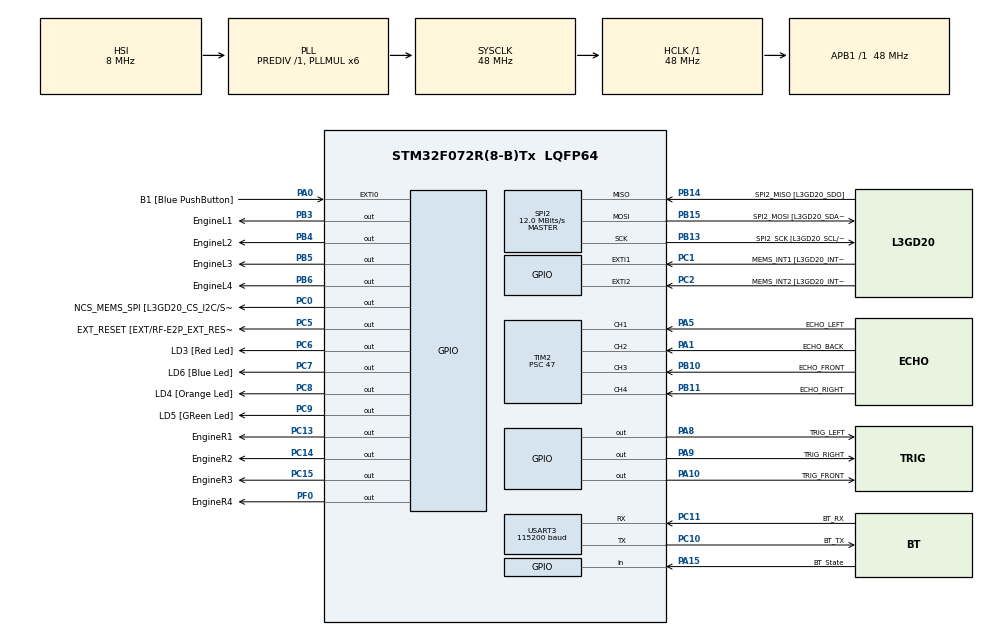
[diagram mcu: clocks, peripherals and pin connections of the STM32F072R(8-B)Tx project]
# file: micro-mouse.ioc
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Dma.Request0=USART3_TX
Dma.USART3_TX.0.Direction=DMA_MEMORY_TO_PERIPH
Dma.USART3_TX.0.Instance=DMA1_Channel2
Dma.USART3_TX.0.MemDataAlignment=DMA_MDATAALIGN_BYTE
Dma.USART3_TX.0.MemInc=DMA_MINC_ENABLE
Dma.USART3_TX.0.Mode=DMA_NORMAL
Dma.USART3_TX.0.PeriphDataAlignment=DMA_PDATAALIGN_BYTE
Dma.USART3_TX.0.PeriphInc=DMA_PINC_DISABLE
Dma.USART3_TX.0.Priority=DMA_PRIORITY_LOW
Mcu.Family=STM32F0
Mcu.Name=STM32F072R(8-B)Tx
Mcu.Package=LQFP64
NVIC.DMA1_Channel2_3_IRQn=true\:0\:0\:false\:false\:true\:false\:true
NVIC.TIM1_BRK_UP_TRG_COM_IRQn=true\:3\:0\:true\:false\:true\:true\:true
NVIC.TIM2_IRQn=true\:0\:0\:false\:false\:true\:true\:true
NVIC.TIM3_IRQn=true\:0\:0\:false\:false\:true\:true\:true
NVIC.USART3_4_IRQn=true\:0\:0\:false\:false\:true\:true\:true
PA0.GPIO_Label=B1 [Blue PushButton]
PA0.GPIO_ModeDefaultEXTI=GPIO_MODE_EVT_RISING
PA0.Signal=GPXTI0
PA1.GPIO_Label=ECHO_BACK
PA1.Signal=S_TIM2_CH2
PA10.GPIO_Label=TRIG_FRONT
PA10.Signal=GPIO_Output
PA11.GPIO_Label=USBF4_DM
PA11.Signal=USB_DM
PA12.GPIO_Label=USBF4_DP
PA12.Signal=USB_DP
PA13.GPIO_Label=SWDIO
PA13.Signal=SYS_SWDIO
PA14.GPIO_Label=SWCLK
PA14.Signal=SYS_SWCLK
PA15.GPIO_Label=BT_State
PA15.Signal=GPIO_Input
PA2.Signal=TSC_G1_IO3
PA3.Signal=TSC_G1_IO4
PA5.GPIO_Label=ECHO_LEFT
PA5.Signal=S_TIM2_CH1_ETR
PA6.Signal=TSC_G2_IO3
PA7.Signal=TSC_G2_IO4
PA8.GPIO_Label=TRIG_LEFT
PA8.Signal=GPIO_Output
PA9.GPIO_Label=TRIG_RIGHT
PA9.Signal=GPIO_Output
PB0.Signal=TSC_G3_IO2
PB1.Signal=TSC_G3_IO3
PB10.GPIO_Label=ECHO_FRONT
PB10.Signal=S_TIM2_CH3
PB11.GPIO_Label=ECHO_RIGHT
PB11.Signal=S_TIM2_CH4
PB13.GPIO_Label=SPI2_SCK [L3GD20_SCL/SPC]
PB13.Mode=Full_Duplex_Master
PB13.Signal=SPI2_SCK
PB14.GPIO_Label=SPI2_MISO [L3GD20_SDO]
PB14.Mode=Full_Duplex_Master
PB14.Signal=SPI2_MISO
PB15.GPIO_Label=SPI2_MOSI [L3GD20_SDA/SDI]
PB15.Mode=Full_Duplex_Master
PB15.Signal=SPI2_MOSI
PB3.GPIO_Label=EngineL1
PB3.Signal=GPIO_Output
PB4.GPIO_Label=EngineL2
PB4.Signal=GPIO_Output
PB5.GPIO_Label=EngineL3
PB5.Signal=GPIO_Output
PB6.GPIO_Label=EngineL4
PB6.Signal=GPIO_Output
PC0.GPIO_Label=NCS_MEMS_SPI [L3GD20_CS_I2C/SPI]
PC0.Signal=GPIO_Output
PC1.GPIO_Label=MEMS_INT1 [L3GD20_INT1]
PC1.GPIO_ModeDefaultEXTI=GPIO_MODE_EVT_RISING
PC1.Signal=GPXTI1
PC10.GPIO_Label=BT_TX
PC10.Mode=Asynchronous
PC10.Signal=USART3_TX
PC11.GPIO_Label=BT_RX
PC11.Mode=Asynchronous
PC11.Signal=USART3_RX
PC13.GPIO_Label=EngineR1
PC13.Signal=GPIO_Output
PC14-OSC32_IN.GPIO_Label=EngineR2
PC14-OSC32_IN.Signal=GPIO_Output
PC15-OSC32_OUT.GPIO_Label=EngineR3
PC15-OSC32_OUT.Signal=GPIO_Output
PC2.GPIO_Label=MEMS_INT2 [L3GD20_INT2]
PC2.GPIO_ModeDefaultEXTI=GPIO_MODE_EVT_RISING
PC2.Signal=GPXTI2
PC5.GPIO_Label=EXT_RESET [EXT/RF-E2P_EXT_RESET]
PC5.Signal=GPIO_Output
PC6.GPIO_Label=LD3 [Red Led]
PC6.Signal=GPIO_Output
PC7.GPIO_Label=LD6 [Blue Led]
PC7.Signal=GPIO_Output
PC8.GPIO_Label=LD4 [Orange Led]
PC8.Signal=GPIO_Output
PC9.GPIO_Label=LD5 [GReen Led]
PC9.Signal=GPIO_Output
PF0-OSC_IN.GPIO_Label=EngineR4
PF0-OSC_IN.Signal=GPIO_Output
ProjectManager.HeapSize=0x200
ProjectManager.StackSize=0x800
ProjectManager.TargetToolchain=Other Toolchains (GPDSC)
RCC.AHBFreq_Value=48000000
RCC.APB1Freq_Value=48000000
RCC.APB1TimFreq_Value=48000000
RCC.HCLKFreq_Value=48000000
RCC.PLLMUL=RCC_PLL_MUL6
RCC.SYSCLKFreq_VALUE=48000000
RCC.SYSCLKSource=RCC_SYSCLKSOURCE_PLLCLK
SH.S_TIM2_CH1_ETR.0=TIM2_CH1,Input_Capture1_from_TI1
SH.S_TIM2_CH2.0=TIM2_CH2,Input_Capture2_from_TI2
SH.S_TIM2_CH3.0=TIM2_CH3,Input_Capture3_from_TI3
SH.S_TIM2_CH4.0=TIM2_CH4,Input_Capture4_from_TI4
SPI2.BaudRatePrescaler=SPI_BAUDRATEPRESCALER_4
SPI2.CLKPhase=SPI_PHASE_2EDGE
SPI2.CLKPolarity=SPI_POLARITY_HIGH
SPI2.CalculateBaudRate=12.0 MBits/s
SPI2.DataSize=SPI_DATASIZE_16BIT
SPI2.Direction=SPI_DIRECTION_2LINES
SPI2.Mode=SPI_MODE_MASTER
SPI2.VirtualType=VM_MASTER
TIM1.Period=999
TIM1.Prescaler=47
TIM2.AutoReloadPreload=TIM_AUTORELOAD_PRELOAD_DISABLE
TIM2.Channel-Input_Capture1_from_TI1=TIM_CHANNEL_1
TIM2.Channel-Input_Capture2_from_TI2=TIM_CHANNEL_2
TIM2.Channel-Input_Capture3_from_TI3=TIM_CHANNEL_3
TIM2.Channel-Input_Capture4_from_TI4=TIM_CHANNEL_4
TIM2.Prescaler=47
TIM3.AutoReloadPreload=TIM_AUTORELOAD_PRELOAD_ENABLE
TIM3.Period=999
TIM3.Prescaler=47
USART3.BaudRate=115200
USART3.VirtualMode-Asynchronous=VM_ASYNC
VP_TIM1_VS_ClockSourceINT.Mode=Internal
VP_TIM2_VS_ClockSourceINT.Mode=Internal
VP_TIM3_VS_ClockSourceINT.Mode=Internal
board=STM32F072B-DISCO

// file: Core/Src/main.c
/* USER CODE BEGIN Header */
/**
  ******************************************************************************
  * @file           : main.c
  * @brief          : Main program body
  ******************************************************************************
  * @attention
  *
  * <h2><center>&copy; Copyright (c) 2022 STMicroelectronics.
  * All rights reserved.</center></h2>
  *
  * This software component is licensed by ST under BSD 3-Clause license,
  * the "License"; You may not use this file except in compliance with the
  * License. You may obtain a copy of the License at:
  *                        opensource.org/licenses/BSD-3-Clause
  *
  ******************************************************************************
  */
/* USER CODE END Header */
#include "main.h"

/* USER CODE BEGIN Includes */
#include <commander.h>
#include <ctrl_stack.h>
#include <Drivers/HCSR04.h>
#include <Drivers/I3G4250D_gyro.h>
#include <Drivers/ZS040.h>
#include <Ecl/state_estimator.h>
/* USER CODE END Includes */

SPI_HandleTypeDef hspi2;

TIM_HandleTypeDef htim1;
TIM_HandleTypeDef htim2;
TIM_HandleTypeDef htim3;

UART_HandleTypeDef huart3;
DMA_HandleTypeDef hdma_usart3_tx;

void SystemClock_Config(void);
static void MX_GPIO_Init(void);
static void MX_DMA_Init(void);
static void MX_USART3_UART_Init(void);
static void MX_TIM2_Init(void);
static void MX_TIM3_Init(void);
static void MX_SPI2_Init(void);
static void MX_TIM1_Init(void);

int main(void)
{

  /* MCU Configuration--------------------------------------------------------*/

  /* Reset of all peripherals, Initializes the Flash interface and the Systick. */
  HAL_Init();

  /* Configure the system clock */
  SystemClock_Config();

  /* Initialize all configured peripherals */
  MX_GPIO_Init();
  MX_DMA_Init();
  MX_USART3_UART_Init();
  MX_TIM2_Init();
  MX_TIM3_Init();
  MX_SPI2_Init();
  MX_TIM1_Init();
  /* USER CODE BEGIN 2 */

  HAL_GPIO_WritePin(NCS_MEMS_SPI_GPIO_Port, NCS_MEMS_SPI_Pin, GPIO_PIN_SET); // Slave select for gyro
  //HAL_Delay(100); // wait for external peripherals to start up

  // setup uart
  ZS040_init(&huart3, bt_callback);

  // setup distance sensors
  HAL_TIM_Base_Start(&htim2);
  HCSR04_Init(&htim2);

  // setup gyro
  I3G4250D_gyro_Init(&hspi2);
  HAL_Delay(1000); // wait until fingers are removed from Wall-E and he stopped vibrating
  I3G4250D_gyro_Calibrate(); // this takes another second

  // setup slam
  init_maze();

  // setup controller stack
  HAL_TIM_Base_Start_IT(&htim3);
  htim3.Instance->ARR = (SYS_FREQ / MAIN_CTRL_FREQ) - 1;
  HAL_TIM_Base_Start_IT(&htim1);
  htim1.Instance->ARR = (SYS_FREQ / MAIN_CTRL_FREQ) - 1;

  /* USER CODE END 2 */

  /* Infinite loop */
  /* USER CODE BEGIN WHILE */
  commander();
  while (1)
  {

    /* USER CODE END WHILE */

  }
}

void SystemClock_Config(void)
{
  RCC_OscInitTypeDef RCC_OscInitStruct = {0};
  RCC_ClkInitTypeDef RCC_ClkInitStruct = {0};

  /** Initializes the RCC Oscillators according to the specified parameters
  * in the RCC_OscInitTypeDef structure.
  */
  RCC_OscInitStruct.OscillatorType = RCC_OSCILLATORTYPE_HSI;
  RCC_OscInitStruct.HSIState = RCC_HSI_ON;
  RCC_OscInitStruct.HSICalibrationValue = RCC_HSICALIBRATION_DEFAULT;
  RCC_OscInitStruct.PLL.PLLState = RCC_PLL_ON;
  RCC_OscInitStruct.PLL.PLLSource = RCC_PLLSOURCE_HSI;
  RCC_OscInitStruct.PLL.PLLMUL = RCC_PLL_MUL6;
  RCC_OscInitStruct.PLL.PREDIV = RCC_PREDIV_DIV1;
  if (HAL_RCC_OscConfig(&RCC_OscInitStruct) != HAL_OK)
  {
    Error_Handler();
  }
  /** Initializes the CPU, AHB and APB buses clocks
  */
  RCC_ClkInitStruct.ClockType = RCC_CLOCKTYPE_HCLK|RCC_CLOCKTYPE_SYSCLK
                              |RCC_CLOCKTYPE_PCLK1;
  RCC_ClkInitStruct.SYSCLKSource = RCC_SYSCLKSOURCE_PLLCLK;
  RCC_ClkInitStruct.AHBCLKDivider = RCC_SYSCLK_DIV1;
  RCC_ClkInitStruct.APB1CLKDivider = RCC_HCLK_DIV1;

  if (HAL_RCC_ClockConfig(&RCC_ClkInitStruct, FLASH_LATENCY_1) != HAL_OK)
  {
    Error_Handler();
  }
}

static void MX_SPI2_Init(void)
{

  /* SPI2 parameter configuration*/
  hspi2.Instance = SPI2;
  hspi2.Init.Mode = SPI_MODE_MASTER;
  hspi2.Init.Direction = SPI_DIRECTION_2LINES;
  hspi2.Init.DataSize = SPI_DATASIZE_16BIT;
  hspi2.Init.CLKPolarity = SPI_POLARITY_HIGH;
  hspi2.Init.CLKPhase = SPI_PHASE_2EDGE;
  hspi2.Init.NSS = SPI_NSS_SOFT;
  hspi2.Init.BaudRatePrescaler = SPI_BAUDRATEPRESCALER_4;
  hspi2.Init.FirstBit = SPI_FIRSTBIT_MSB;
  hspi2.Init.TIMode = SPI_TIMODE_DISABLE;
  hspi2.Init.CRCCalculation = SPI_CRCCALCULATION_DISABLE;
  hspi2.Init.CRCPolynomial = 7;
  hspi2.Init.CRCLength = SPI_CRC_LENGTH_DATASIZE;
  hspi2.Init.NSSPMode = SPI_NSS_PULSE_DISABLE;
  if (HAL_SPI_Init(&hspi2) != HAL_OK)
  {
    Error_Handler();
  }

}

static void MX_TIM1_Init(void)
{

  TIM_ClockConfigTypeDef sClockSourceConfig = {0};
  TIM_MasterConfigTypeDef sMasterConfig = {0};

  htim1.Instance = TIM1;
  htim1.Init.Prescaler = 47;
  htim1.Init.CounterMode = TIM_COUNTERMODE_UP;
  htim1.Init.Period = 999;
  htim1.Init.ClockDivision = TIM_CLOCKDIVISION_DIV1;
  htim1.Init.RepetitionCounter = 0;
  htim1.Init.AutoReloadPreload = TIM_AUTORELOAD_PRELOAD_DISABLE;
  if (HAL_TIM_Base_Init(&htim1) != HAL_OK)
  {
    Error_Handler();
  }
  sClockSourceConfig.ClockSource = TIM_CLOCKSOURCE_INTERNAL;
  if (HAL_TIM_ConfigClockSource(&htim1, &sClockSourceConfig) != HAL_OK)
  {
    Error_Handler();
  }
  sMasterConfig.MasterOutputTrigger = TIM_TRGO_RESET;
  sMasterConfig.MasterSlaveMode = TIM_MASTERSLAVEMODE_DISABLE;
  if (HAL_TIMEx_MasterConfigSynchronization(&htim1, &sMasterConfig) != HAL_OK)
  {
    Error_Handler();
  }

}

static void MX_TIM2_Init(void)
{

  TIM_ClockConfigTypeDef sClockSourceConfig = {0};
  TIM_MasterConfigTypeDef sMasterConfig = {0};
  TIM_IC_InitTypeDef sConfigIC = {0};

  htim2.Instance = TIM2;
  htim2.Init.Prescaler = 47;
  htim2.Init.CounterMode = TIM_COUNTERMODE_UP;
  htim2.Init.Period = 4294967295;
  htim2.Init.ClockDivision = TIM_CLOCKDIVISION_DIV1;
  htim2.Init.AutoReloadPreload = TIM_AUTORELOAD_PRELOAD_DISABLE;
  if (HAL_TIM_Base_Init(&htim2) != HAL_OK)
  {
    Error_Handler();
  }
  sClockSourceConfig.ClockSource = TIM_CLOCKSOURCE_INTERNAL;
  if (HAL_TIM_ConfigClockSource(&htim2, &sClockSourceConfig) != HAL_OK)
  {
    Error_Handler();
  }
  if (HAL_TIM_IC_Init(&htim2) != HAL_OK)
  {
    Error_Handler();
  }
  sMasterConfig.MasterOutputTrigger = TIM_TRGO_RESET;
  sMasterConfig.MasterSlaveMode = TIM_MASTERSLAVEMODE_DISABLE;
  if (HAL_TIMEx_MasterConfigSynchronization(&htim2, &sMasterConfig) != HAL_OK)
  {
    Error_Handler();
  }
  sConfigIC.ICPolarity = TIM_INPUTCHANNELPOLARITY_RISING;
  sConfigIC.ICSelection = TIM_ICSELECTION_DIRECTTI;
  sConfigIC.ICPrescaler = TIM_ICPSC_DIV1;
  sConfigIC.ICFilter = 0;
  if (HAL_TIM_IC_ConfigChannel(&htim2, &sConfigIC, TIM_CHANNEL_1) != HAL_OK)
  {
    Error_Handler();
  }
  if (HAL_TIM_IC_ConfigChannel(&htim2, &sConfigIC, TIM_CHANNEL_2) != HAL_OK)
  {
    Error_Handler();
  }
  if (HAL_TIM_IC_ConfigChannel(&htim2, &sConfigIC, TIM_CHANNEL_3) != HAL_OK)
  {
    Error_Handler();
  }
  if (HAL_TIM_IC_ConfigChannel(&htim2, &sConfigIC, TIM_CHANNEL_4) != HAL_OK)
  {
    Error_Handler();
  }
  /* USER CODE BEGIN TIM2_Init 2 */
  htim2.Instance->CCER |= (TIM_CCER_CC1E | TIM_CCER_CC2E | TIM_CCER_CC3E | TIM_CCER_CC4E); // enable capture compare
  /* USER CODE END TIM2_Init 2 */

}

static void MX_TIM3_Init(void)
{

  TIM_ClockConfigTypeDef sClockSourceConfig = {0};
  TIM_MasterConfigTypeDef sMasterConfig = {0};

  htim3.Instance = TIM3;
  htim3.Init.Prescaler = 47;
  htim3.Init.CounterMode = TIM_COUNTERMODE_UP;
  htim3.Init.Period = 999;
  htim3.Init.ClockDivision = TIM_CLOCKDIVISION_DIV1;
  htim3.Init.AutoReloadPreload = TIM_AUTORELOAD_PRELOAD_ENABLE;
  if (HAL_TIM_Base_Init(&htim3) != HAL_OK)
  {
    Error_Handler();
  }
  sClockSourceConfig.ClockSource = TIM_CLOCKSOURCE_INTERNAL;
  if (HAL_TIM_ConfigClockSource(&htim3, &sClockSourceConfig) != HAL_OK)
  {
    Error_Handler();
  }
  sMasterConfig.MasterOutputTrigger = TIM_TRGO_RESET;
  sMasterConfig.MasterSlaveMode = TIM_MASTERSLAVEMODE_DISABLE;
  if (HAL_TIMEx_MasterConfigSynchronization(&htim3, &sMasterConfig) != HAL_OK)
  {
    Error_Handler();
  }

}

static void MX_USART3_UART_Init(void)
{

  huart3.Instance = USART3;
  huart3.Init.BaudRate = 115200;
  huart3.Init.WordLength = UART_WORDLENGTH_8B;
  huart3.Init.StopBits = UART_STOPBITS_1;
  huart3.Init.Parity = UART_PARITY_NONE;
  huart3.Init.Mode = UART_MODE_TX_RX;
  huart3.Init.HwFlowCtl = UART_HWCONTROL_NONE;
  huart3.Init.OverSampling = UART_OVERSAMPLING_16;
  huart3.Init.OneBitSampling = UART_ONE_BIT_SAMPLE_DISABLE;
  huart3.AdvancedInit.AdvFeatureInit = UART_ADVFEATURE_NO_INIT;
  if (HAL_UART_Init(&huart3) != HAL_OK)
  {
    Error_Handler();
  }
  /* USER CODE BEGIN USART3_Init 2 */
  SET_BIT(huart3.Instance->CR1, USART_CR1_RXNEIE); // Interrupt on Reception
  /* USER CODE END USART3_Init 2 */

}

static void MX_DMA_Init(void)
{

  /* DMA controller clock enable */
  __HAL_RCC_DMA1_CLK_ENABLE();

  /* DMA interrupt init */
  /* DMA1_Channel2_3_IRQn interrupt configuration */
  HAL_NVIC_SetPriority(DMA1_Channel2_3_IRQn, 0, 0);
  HAL_NVIC_EnableIRQ(DMA1_Channel2_3_IRQn);

}

static void MX_GPIO_Init(void)
{
  GPIO_InitTypeDef GPIO_InitStruct = {0};

  /* GPIO Ports Clock Enable */
  __HAL_RCC_GPIOC_CLK_ENABLE();
  __HAL_RCC_GPIOF_CLK_ENABLE();
  __HAL_RCC_GPIOA_CLK_ENABLE();
  __HAL_RCC_GPIOB_CLK_ENABLE();

  /*Configure GPIO pin Output Level */
  HAL_GPIO_WritePin(GPIOC, EngineR1_Pin|EngineR2_Pin|EngineR3_Pin|NCS_MEMS_SPI_Pin
                          |EXT_RESET_Pin|LD3_Pin|LD6_Pin|LD4_Pin
                          |LD5_Pin, GPIO_PIN_RESET);

  /*Configure GPIO pin Output Level */
  HAL_GPIO_WritePin(EngineR4_GPIO_Port, EngineR4_Pin, GPIO_PIN_RESET);

  /*Configure GPIO pin Output Level */
  HAL_GPIO_WritePin(GPIOA, TRIG_LEFT_Pin|TRIG_RIGHT_Pin|TRIG_FRONT_Pin, GPIO_PIN_RESET);

  /*Configure GPIO pin Output Level */
  HAL_GPIO_WritePin(GPIOB, EngineL1_Pin|EngineL2_Pin|EngineL3_Pin|EngineL4_Pin, GPIO_PIN_RESET);

  /*Configure GPIO pins : EngineR1_Pin EngineR2_Pin EngineR3_Pin NCS_MEMS_SPI_Pin
                           EXT_RESET_Pin LD3_Pin LD6_Pin LD4_Pin
                           LD5_Pin */
  GPIO_InitStruct.Pin = EngineR1_Pin|EngineR2_Pin|EngineR3_Pin|NCS_MEMS_SPI_Pin
                          |EXT_RESET_Pin|LD3_Pin|LD6_Pin|LD4_Pin
                          |LD5_Pin;
  GPIO_InitStruct.Mode = GPIO_MODE_OUTPUT_PP;
  GPIO_InitStruct.Pull = GPIO_NOPULL;
  GPIO_InitStruct.Speed = GPIO_SPEED_FREQ_LOW;
  HAL_GPIO_Init(GPIOC, &GPIO_InitStruct);

  /*Configure GPIO pin : EngineR4_Pin */
  GPIO_InitStruct.Pin = EngineR4_Pin;
  GPIO_InitStruct.Mode = GPIO_MODE_OUTPUT_PP;
  GPIO_InitStruct.Pull = GPIO_NOPULL;
  GPIO_InitStruct.Speed = GPIO_SPEED_FREQ_LOW;
  HAL_GPIO_Init(EngineR4_GPIO_Port, &GPIO_InitStruct);

  /*Configure GPIO pins : MEMS_INT1_Pin MEMS_INT2_Pin */
  GPIO_InitStruct.Pin = MEMS_INT1_Pin|MEMS_INT2_Pin;
  GPIO_InitStruct.Mode = GPIO_MODE_EVT_RISING;
  GPIO_InitStruct.Pull = GPIO_NOPULL;
  HAL_GPIO_Init(GPIOC, &GPIO_InitStruct);

  /*Configure GPIO pin : B1_Pin */
  GPIO_InitStruct.Pin = B1_Pin;
  GPIO_InitStruct.Mode = GPIO_MODE_EVT_RISING;
  GPIO_InitStruct.Pull = GPIO_NOPULL;
  HAL_GPIO_Init(B1_GPIO_Port, &GPIO_InitStruct);

  /*Configure GPIO pins : PA2 PA3 PA6 PA7 */
  GPIO_InitStruct.Pin = GPIO_PIN_2|GPIO_PIN_3|GPIO_PIN_6|GPIO_PIN_7;
  GPIO_InitStruct.Mode = GPIO_MODE_AF_PP;
  GPIO_InitStruct.Pull = GPIO_NOPULL;
  GPIO_InitStruct.Speed = GPIO_SPEED_FREQ_LOW;
  GPIO_InitStruct.Alternate = GPIO_AF3_TSC;
  HAL_GPIO_Init(GPIOA, &GPIO_InitStruct);

  /*Configure GPIO pins : PB0 PB1 */
  GPIO_InitStruct.Pin = GPIO_PIN_0|GPIO_PIN_1;
  GPIO_InitStruct.Mode = GPIO_MODE_AF_PP;
  GPIO_InitStruct.Pull = GPIO_NOPULL;
  GPIO_InitStruct.Speed = GPIO_SPEED_FREQ_LOW;
  GPIO_InitStruct.Alternate = GPIO_AF3_TSC;
  HAL_GPIO_Init(GPIOB, &GPIO_InitStruct);

  /*Configure GPIO pins : TRIG_LEFT_Pin TRIG_RIGHT_Pin TRIG_FRONT_Pin */
  GPIO_InitStruct.Pin = TRIG_LEFT_Pin|TRIG_RIGHT_Pin|TRIG_FRONT_Pin;
  GPIO_InitStruct.Mode = GPIO_MODE_OUTPUT_PP;
  GPIO_InitStruct.Pull = GPIO_NOPULL;
  GPIO_InitStruct.Speed = GPIO_SPEED_FREQ_LOW;
  HAL_GPIO_Init(GPIOA, &GPIO_InitStruct);

  /*Configure GPIO pin : BT_State_Pin */
  GPIO_InitStruct.Pin = BT_State_Pin;
  GPIO_InitStruct.Mode = GPIO_MODE_INPUT;
  GPIO_InitStruct.Pull = GPIO_NOPULL;
  HAL_GPIO_Init(BT_State_GPIO_Port, &GPIO_InitStruct);

  /*Configure GPIO pins : EngineL1_Pin EngineL2_Pin EngineL3_Pin EngineL4_Pin */
  GPIO_InitStruct.Pin = EngineL1_Pin|EngineL2_Pin|EngineL3_Pin|EngineL4_Pin;
  GPIO_InitStruct.Mode = GPIO_MODE_OUTPUT_PP;
  GPIO_InitStruct.Pull = GPIO_NOPULL;
  GPIO_InitStruct.Speed = GPIO_SPEED_FREQ_LOW;
  HAL_GPIO_Init(GPIOB, &GPIO_InitStruct);

}

void Error_Handler(void)
{
  __disable_irq();
  while (1)
  {
  }
}

/************************ (C) COPYRIGHT STMicroelectronics *****END OF FILE****/
